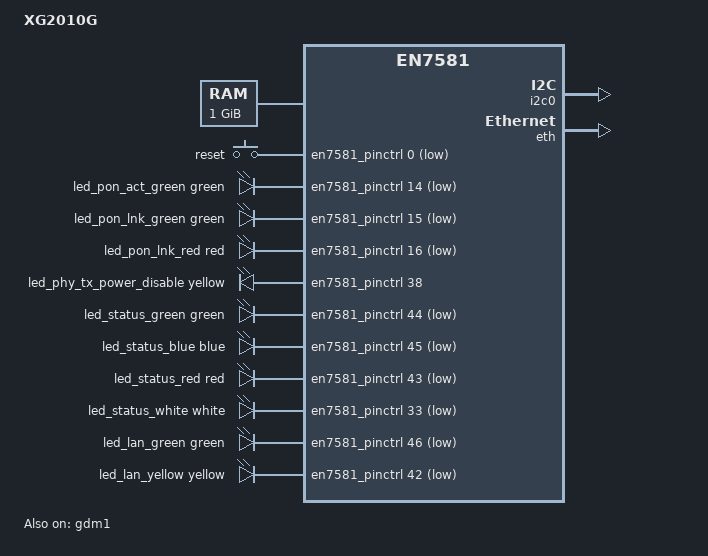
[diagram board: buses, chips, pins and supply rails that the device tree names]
// SPDX-License-Identifier: (GPL-2.0-only OR BSD-2-Clause)
/*
 * XG2010G (ECONET EN7581 / Gemtek) U-Boot board DTS.
 *
 * GPIO numbering is the absolute SoC number: bank A = gpio@1fbf0200 (0-31),
 * bank B = gpio@1fbf0270 (32-63):
 *   sts_white=33  phy_tx_power_disable=38  lan_led_yellow=42
 *   sts_red=43    sts_green=44             sts_blue=45
 *   lan_led_green=46  pon_act_green=14  pon_lnk_green=15  pon_lnk_red=16
 *   reset key=0      RTL8261N resets=29/27  EN8811H reset=31
 * Pins 17-20 are HW_ID0-3 straps on this board; the stock /userfs
 * 7581ptled.conf ledctrl paths (gpio 18/19/20 = xponStatus/xponLos/internet
 * on the reference EVB) have no visible hardware here, hence they are not
 * declared as LEDs.
 */
/dts-v1/;

/* Bootloader installs ATF here */
/memreserve/ 0x80000000 0x200000;

#include <dt-bindings/gpio/gpio.h>
#include <dt-bindings/input/input.h>
#include <dt-bindings/interrupt-controller/irq.h>
#include <dt-bindings/leds/common.h>
#include "en7581.dtsi"

/ {
	model = "XG2010G";
	compatible = "econet,xg2010g", "econet,xg2010g-ubi",
		     "gemtek,xg2010g", "gemtek,xg2010g-ubi",
		     "econet,en7581", "airoha,an7581",
		     "airoha,en7581";
	recovery-gpios = <&en7581_pinctrl 0 GPIO_ACTIVE_LOW>;
	recovery-green-led-gpios = <&en7581_pinctrl 46 GPIO_ACTIVE_LOW>,
				   <&en7581_pinctrl 44 GPIO_ACTIVE_LOW>;
	recovery-yellow-led-gpios = <&en7581_pinctrl 42 GPIO_ACTIVE_LOW>,
				    <&en7581_pinctrl 33 GPIO_ACTIVE_LOW>;

	aliases {
		serial0 = &uart1;
		led-boot = &led_status_red;
		led-failsafe = &led_status_blue;
		led-upgrade = &led_status_blue;
		led-running = &led_status_green;
	};

	chosen {
		rootdisk = <&ubi_rootfs>;
		bootargs = "console=ttyS0,115200 earlycon ubi.block=0,fit root=/dev/fit0 rootwait";
		stdout-path = "serial0:115200n8";
		/* 1 GiB DDR minus 2 MiB ATF reserve at 0x80000000 */
		linux,usable-memory-range = <0x0 0x80200000 0x0 0x3fe00000>;
	};

	memory@80000000 {
		device_type = "memory";
		reg = <0x0 0x80000000 0x0 0x40000000>;
	};

	keys {
		compatible = "gpio-keys";

		key-restart {
			label = "reset";
			gpios = <&en7581_pinctrl 0 GPIO_ACTIVE_LOW>;
			linux,code = <KEY_RESTART>;
		};
	};

	leds {
		compatible = "gpio-leds";

		led_pon_act_green: led-pon-act-green {
			color = <LED_COLOR_ID_GREEN>;
			function = LED_FUNCTION_WAN;
			function-enumerator = <0>;
			gpios = <&en7581_pinctrl 14 GPIO_ACTIVE_LOW>;
		};

		led_pon_lnk_green: led-pon-lnk-green {
			color = <LED_COLOR_ID_GREEN>;
			function = LED_FUNCTION_WAN_ONLINE;
			gpios = <&en7581_pinctrl 15 GPIO_ACTIVE_LOW>;
		};

		led_pon_lnk_red: led-pon-lnk-red {
			color = <LED_COLOR_ID_RED>;
			function = LED_FUNCTION_WAN;
			function-enumerator = <1>;
			gpios = <&en7581_pinctrl 16 GPIO_ACTIVE_LOW>;
		};

		led_phy_tx_power_disable: led-phy-tx-power-disable {
			color = <LED_COLOR_ID_YELLOW>;
			function = LED_FUNCTION_ACTIVITY;
			function-enumerator = <0>;
			/* stock DTS: active-high, default on (laser shutdown hint) */
			gpios = <&en7581_pinctrl 38 GPIO_ACTIVE_HIGH>;
			default-state = "on";
		};

		led_status_green: led-status-green {
			color = <LED_COLOR_ID_GREEN>;
			function = LED_FUNCTION_STATUS;
			gpios = <&en7581_pinctrl 44 GPIO_ACTIVE_LOW>;
		};

		led_status_blue: led-status-blue {
			color = <LED_COLOR_ID_BLUE>;
			function = LED_FUNCTION_STATUS;
			gpios = <&en7581_pinctrl 45 GPIO_ACTIVE_LOW>;
		};

		led_status_red: led-status-red {
			color = <LED_COLOR_ID_RED>;
			function = LED_FUNCTION_STATUS;
			gpios = <&en7581_pinctrl 43 GPIO_ACTIVE_LOW>;
			default-state = "on";
		};

		led_status_white: led-status-white {
			color = <LED_COLOR_ID_WHITE>;
			function = LED_FUNCTION_STATUS;
			gpios = <&en7581_pinctrl 33 GPIO_ACTIVE_LOW>;
		};

		led_lan_green: led-lan-green {
			color = <LED_COLOR_ID_GREEN>;
			function = LED_FUNCTION_LAN;
			function-enumerator = <1>;
			gpios = <&en7581_pinctrl 46 GPIO_ACTIVE_LOW>;
		};

		led_lan_yellow: led-lan-yellow {
			color = <LED_COLOR_ID_YELLOW>;
			function = LED_FUNCTION_LAN;
			function-enumerator = <1>;
			gpios = <&en7581_pinctrl 42 GPIO_ACTIVE_LOW>;
		};
	};
};

&en7581_pinctrl {
	gpio-ranges = <&en7581_pinctrl 0 13 47>;

	mdio_pins: mdio-pins {
		mux {
			function = "mdio";
			groups = "mdio";
		};

		conf {
			pins = "gpio2";
			output-high;
		};
	};
};

&spi_nand {
	#address-cells = <1>;
	#size-cells = <1>;

	partitions {
		compatible = "fixed-partitions";
		#address-cells = <1>;
		#size-cells = <1>;

		partition@0 {
			label = "bootloader";
			reg = <0x00000000 0x00200000>;
			read-only;
		};

		partition@200000 {
			label = "uenv";
			reg = <0x00200000 0x00200000>;
		};

		partition@400000 {
			label = "dsd";
			reg = <0x00400000 0x00200000>;
		};

		partition@600000 {
			label = "chainloader";
			reg = <0x00600000 0x00100000>;
			read-only;
		};

		partition@700000 {
			label = "system";
			reg = <0x00700000 0x1b700000>;
			compatible = "linux,ubi";

			volumes {
				ubi_rootfs: ubi-volume-fit {
					volname = "fit";
				};

				ubi_factory: ubi-volume-factory {
					volname = "factory";
				};
			};
		};

		/*
		 * Reserve the final 528 128 KiB eraseblocks (66 MiB) for
		 * the vendor bootloader's BMT/BBT handling on SPI-NAND.
		 */
		reserved_bmt@1be00000 {
			label = "reserved_bmt";
			reg = <0x1be00000 0x04200000>;
			read-only;
		};
	};
};

&ubi_factory {
	nvmem-layout {
		compatible = "fixed-layout";
		#address-cells = <1>;
		#size-cells = <1>;

		/* BOSA calibration / factory data is stored inside UBI factory. */
		bosa-calibration@5000 {
			reg = <0x5000 0x1000>;
		};
	};
};

&i2c0 {
	status = "okay";
};

/*
 * XG2010G ships without a WiFi module on PCIe. Keep the PCIe controllers
 * disabled (default in en7581.dtsi); they are not wired to anything.
 */
&pcie0 {
	status = "disabled";
};

&pcie1 {
	status = "disabled";
};

&eth {
	status = "okay";
};

&gdm1 {
	status = "okay";
};
